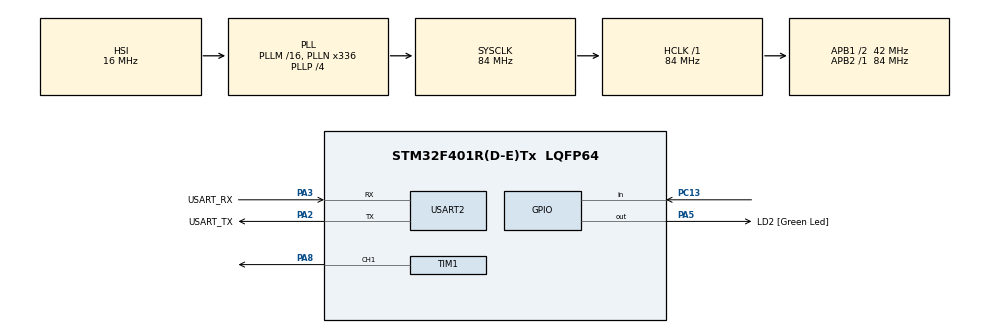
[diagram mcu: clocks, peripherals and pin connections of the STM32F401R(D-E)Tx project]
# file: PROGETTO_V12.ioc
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Mcu.Family=STM32F4
Mcu.Name=STM32F401R(D-E)Tx
Mcu.Package=LQFP64
NVIC.PriorityGroup=NVIC_PRIORITYGROUP_0
PA13.GPIO_Label=TMS
PA13.Mode=Serial_Wire
PA13.Signal=SYS_JTMS-SWDIO
PA14.GPIO_Label=TCK
PA14.Mode=Serial_Wire
PA14.Signal=SYS_JTCK-SWCLK
PA2.GPIO_Label=USART_TX
PA2.GPIO_Mode=GPIO_MODE_AF_PP
PA2.GPIO_PuPd=GPIO_NOPULL
PA2.GPIO_Speed=GPIO_SPEED_FREQ_LOW
PA2.Mode=Asynchronous
PA2.Signal=USART2_TX
PA3.GPIO_Label=USART_RX
PA3.GPIO_Mode=GPIO_MODE_AF_PP
PA3.GPIO_PuPd=GPIO_NOPULL
PA3.GPIO_Speed=GPIO_SPEED_FREQ_LOW
PA3.Mode=Asynchronous
PA3.Signal=USART2_RX
PA5.GPIO_Label=LD2 [Green Led]
PA5.GPIO_Mode=GPIO_MODE_OUTPUT_PP
PA5.GPIO_PuPd=GPIO_NOPULL
PA5.GPIO_Speed=GPIO_SPEED_FREQ_LOW
PA5.Signal=GPIO_Output
PA8.Signal=S_TIM1_CH1
PB3.GPIO_Label=SWO
PB3.Signal=SYS_JTDO-SWO
PC13-ANTI_TAMP.Signal=GPIO_Input
PC14-OSC32_IN.Mode=LSE-External-Oscillator
PC14-OSC32_IN.Signal=RCC_OSC32_IN
PC15-OSC32_OUT.Mode=LSE-External-Oscillator
PC15-OSC32_OUT.Signal=RCC_OSC32_OUT
PH0\ -\ OSC_IN.Mode=HSE-External-Clock-Source
PH0\ -\ OSC_IN.Signal=RCC_OSC_IN
PH1\ -\ OSC_OUT.Mode=HSE-External-Clock-Source
PH1\ -\ OSC_OUT.Signal=RCC_OSC_OUT
ProjectManager.HeapSize=0x200
ProjectManager.StackSize=0x400
ProjectManager.TargetToolchain=STM32CubeIDE
RCC.48MHZClocksFreq_Value=48000000
RCC.AHBFreq_Value=84000000
RCC.APB1CLKDivider=RCC_HCLK_DIV2
RCC.APB1Freq_Value=42000000
RCC.APB1TimFreq_Value=84000000
RCC.APB2Freq_Value=84000000
RCC.APB2TimFreq_Value=84000000
RCC.CortexFreq_Value=84000000
RCC.HCLKFreq_Value=84000000
RCC.HSE_VALUE=8000000
RCC.HSI_VALUE=16000000
RCC.PLLN=336
RCC.PLLP=RCC_PLLP_DIV4
RCC.PLLQ=7
RCC.SYSCLKFreq_VALUE=84000000
RCC.SYSCLKSource=RCC_SYSCLKSOURCE_PLLCLK
RCC.VCOOutputFreq_Value=336000000
SH.S_TIM1_CH1.0=TIM1_CH1,PWM Generation1 CH1
TIM1.Channel-PWM\ Generation1\ CH1=TIM_CHANNEL_1
USART2.VirtualMode=VM_ASYNC
VP_TIM1_VS_ClockSourceINT.Mode=Internal
board=NUCLEO-F401RE

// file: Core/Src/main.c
/* USER CODE BEGIN Header */
/**
  ******************************************************************************
  * @file           : main.c
  * @brief          : Main program body
  ******************************************************************************
  * @attention
  *
  * Copyright (c) 2023 STMicroelectronics.
  * All rights reserved.
  *
  * This software is licensed under terms that can be found in the LICENSE file
  * in the root directory of this software component.
  * If no LICENSE file comes with this software, it is provided AS-IS.
  *
  ******************************************************************************
  */
/* USER CODE END Header */
#include <main.h>
#include <stdlib.h>
#include <string.h>
/* USER CODE END Includes */

TIM_HandleTypeDef htim1;

UART_HandleTypeDef huart2;

void SystemClock_Config(void);
static void MX_GPIO_Init(void);
static void MX_USART2_UART_Init(void);
static void MX_TIM1_Init(void);

/* USER CODE BEGIN 0 */

//DEFINIZIONE DELLE COSTANTI, FREQUENZE DELLE NOTE
#define NOTE_B0  31
#define NOTE_C1  33
#define NOTE_CS1 35
#define NOTE_D1  37
#define NOTE_DS1 39
#define NOTE_E1  41
#define NOTE_F1  44
#define NOTE_FS1 46
#define NOTE_G1  49
#define NOTE_GS1 52
#define NOTE_A1  55
#define NOTE_AS1 58
#define NOTE_B1  62
#define NOTE_C2  65
#define NOTE_CS2 69
#define NOTE_D2  73
#define NOTE_DS2 78
#define NOTE_E2  82
#define NOTE_F2  87
#define NOTE_FS2 93
#define NOTE_G2  98
#define NOTE_GS2 104
#define NOTE_A2  110
#define NOTE_AS2 117
#define NOTE_B2  123
#define NOTE_C3  131
#define NOTE_CS3 139
#define NOTE_D3  147
#define NOTE_DS3 156
#define NOTE_E3  165
#define NOTE_F3  175
#define NOTE_FS3 185
#define NOTE_G3  196
#define NOTE_GS3 208
#define NOTE_A3  220
#define NOTE_AS3 233
#define NOTE_B3  247
#define NOTE_C4  262
#define NOTE_CS4 277
#define NOTE_D4  294
#define NOTE_DS4 311
#define NOTE_E4  330
#define NOTE_F4  349
#define NOTE_FS4 370
#define NOTE_G4  392
#define NOTE_GS4 415
#define NOTE_A4  440
#define NOTE_AS4 466
#define NOTE_B4  494
#define NOTE_C5  523
#define NOTE_CS5 554
#define NOTE_D5  587
#define NOTE_DS5 622
#define NOTE_E5  659
#define NOTE_F5  698
#define NOTE_FS5 740
#define NOTE_G5  784
#define NOTE_GS5 831
#define NOTE_A5  880
#define NOTE_AS5 932
#define NOTE_B5  988
#define NOTE_C6  1047
#define NOTE_CS6 1109
#define NOTE_D6  1175
#define NOTE_DS6 1245
#define NOTE_E6  1319
#define NOTE_F6  1397
#define NOTE_FS6 1480
#define NOTE_G6  1568
#define NOTE_GS6 1661
#define NOTE_A6  1760
#define NOTE_AS6 1865
#define NOTE_B6  1976
#define NOTE_C7  2093
#define NOTE_CS7 2217
#define NOTE_D7  2349
#define NOTE_DS7 2489
#define NOTE_E7  2637
#define NOTE_F7  2794
#define NOTE_FS7 2960
#define NOTE_G7  3136
#define NOTE_GS7 3322
#define NOTE_A7  3520
#define NOTE_AS7 3729
#define NOTE_B7  3951
#define NOTE_C8  4186
#define NOTE_CS8 4435
#define NOTE_D8  4699
#define NOTE_DS8 4978
#define REST 0

//VARIABILI GLOBALI
const int FCK = 84000000; //FREQUENZA DI CLOCK
const float DC_DEFAULT = 0.5; //DUTY CYCLE DI DEFAULT
const int ARR = 32-1; //CONTEGGIO MASSIMO DEL TIMER

//DEFINIZIONE DELLA CANZONE, COMPOSTA DA ARRAY DI NOTE E TEMPI DI RIPRODUZIONE

/*const int TEMPO = 350; //PARAMETRO DA MODIFICARE PER RENDERE PIU O MENO VELOCE LA MUSICA
int melody[] = {

  // Super Mario Bros theme
  // Score available at https://musescore.com/user/2123/scores/2145
  // Theme by Koji Kondo

  NOTE_E5,8, NOTE_E5,8, REST,8, NOTE_E5,8, REST,8, NOTE_C5,8, NOTE_E5,8, //1
  NOTE_G5,4, REST,4, NOTE_G4,8, REST,4,
  NOTE_C5,-4, NOTE_G4,8, REST,4, NOTE_E4,-4, // 3
  NOTE_A4,4, NOTE_B4,4, NOTE_AS4,8, NOTE_A4,4,
  NOTE_G4,-8, NOTE_E5,-8, NOTE_G5,-8, NOTE_A5,4, NOTE_F5,8, NOTE_G5,8,
  REST,8, NOTE_E5,4,NOTE_C5,8, NOTE_D5,8, NOTE_B4,-4,
  NOTE_C5,-4, NOTE_G4,8, REST,4, NOTE_E4,-4, // repeats from 3
  NOTE_A4,4, NOTE_B4,4, NOTE_AS4,8, NOTE_A4,4,
  NOTE_G4,-8, NOTE_E5,-8, NOTE_G5,-8, NOTE_A5,4, NOTE_F5,8, NOTE_G5,8,
  REST,8, NOTE_E5,4,NOTE_C5,8, NOTE_D5,8, NOTE_B4,-4,

  REST,4, NOTE_G5,8, NOTE_FS5,8, NOTE_F5,8, NOTE_DS5,4, NOTE_E5,8,//7
  REST,8, NOTE_GS4,8, NOTE_A4,8, NOTE_C4,8, REST,8, NOTE_A4,8, NOTE_C5,8, NOTE_D5,8,
  REST,4, NOTE_DS5,4, REST,8, NOTE_D5,-4,
  NOTE_C5,2, REST,2,

  REST,4, NOTE_G5,8, NOTE_FS5,8, NOTE_F5,8, NOTE_DS5,4, NOTE_E5,8,//repeats from 7
  REST,8, NOTE_GS4,8, NOTE_A4,8, NOTE_C4,8, REST,8, NOTE_A4,8, NOTE_C5,8, NOTE_D5,8,
  REST,4, NOTE_DS5,4, REST,8, NOTE_D5,-4,
  NOTE_C5,2, REST,2,

  NOTE_C5,8, NOTE_C5,4, NOTE_C5,8, REST,8, NOTE_C5,8, NOTE_D5,4,//11
  NOTE_E5,8, NOTE_C5,4, NOTE_A4,8, NOTE_G4,2,

  NOTE_C5,8, NOTE_C5,4, NOTE_C5,8, REST,8, NOTE_C5,8, NOTE_D5,8, NOTE_E5,8,//13
  REST,1,
  NOTE_C5,8, NOTE_C5,4, NOTE_C5,8, REST,8, NOTE_C5,8, NOTE_D5,4,
  NOTE_E5,8, NOTE_C5,4, NOTE_A4,8, NOTE_G4,2,
  NOTE_E5,8, NOTE_E5,8, REST,8, NOTE_E5,8, REST,8, NOTE_C5,8, NOTE_E5,4,
  NOTE_G5,4, REST,4, NOTE_G4,4, REST,4,
  NOTE_C5,-4, NOTE_G4,8, REST,4, NOTE_E4,-4, // 19

  NOTE_A4,4, NOTE_B4,4, NOTE_AS4,8, NOTE_A4,4,
  NOTE_G4,-8, NOTE_E5,-8, NOTE_G5,-8, NOTE_A5,4, NOTE_F5,8, NOTE_G5,8,
  REST,8, NOTE_E5,4, NOTE_C5,8, NOTE_D5,8, NOTE_B4,-4,

  NOTE_C5,-4, NOTE_G4,8, REST,4, NOTE_E4,-4, // repeats from 19
  NOTE_A4,4, NOTE_B4,4, NOTE_AS4,8, NOTE_A4,4,
  NOTE_G4,-8, NOTE_E5,-8, NOTE_G5,-8, NOTE_A5,4, NOTE_F5,8, NOTE_G5,8,
  REST,8, NOTE_E5,4, NOTE_C5,8, NOTE_D5,8, NOTE_B4,-4,

  NOTE_E5,8, NOTE_C5,4, NOTE_G4,8, REST,4, NOTE_GS4,4,//23
  NOTE_A4,8, NOTE_F5,4, NOTE_F5,8, NOTE_A4,2,
  NOTE_D5,-8, NOTE_A5,-8, NOTE_A5,-8, NOTE_A5,-8, NOTE_G5,-8, NOTE_F5,-8,

  NOTE_E5,8, NOTE_C5,4, NOTE_A4,8, NOTE_G4,2, //26
  NOTE_E5,8, NOTE_C5,4, NOTE_G4,8, REST,4, NOTE_GS4,4,
  NOTE_A4,8, NOTE_F5,4, NOTE_F5,8, NOTE_A4,2,
  NOTE_B4,8, NOTE_F5,4, NOTE_F5,8, NOTE_F5,-8, NOTE_E5,-8, NOTE_D5,-8,
  NOTE_C5,8, NOTE_E4,4, NOTE_E4,8, NOTE_C4,2,

  NOTE_E5,8, NOTE_C5,4, NOTE_G4,8, REST,4, NOTE_GS4,4,//repeats from 23
  NOTE_A4,8, NOTE_F5,4, NOTE_F5,8, NOTE_A4,2,
  NOTE_D5,-8, NOTE_A5,-8, NOTE_A5,-8, NOTE_A5,-8, NOTE_G5,-8, NOTE_F5,-8,

  NOTE_E5,8, NOTE_C5,4, NOTE_A4,8, NOTE_G4,2, //26
  NOTE_E5,8, NOTE_C5,4, NOTE_G4,8, REST,4, NOTE_GS4,4,
  NOTE_A4,8, NOTE_F5,4, NOTE_F5,8, NOTE_A4,2,
  NOTE_B4,8, NOTE_F5,4, NOTE_F5,8, NOTE_F5,-8, NOTE_E5,-8, NOTE_D5,-8,
  NOTE_C5,8, NOTE_E4,4, NOTE_E4,8, NOTE_C4,2,
  NOTE_C5,8, NOTE_C5,4, NOTE_C5,8, REST,8, NOTE_C5,8, NOTE_D5,8, NOTE_E5,8,
  REST,1,

  NOTE_C5,8, NOTE_C5,4, NOTE_C5,8, REST,8, NOTE_C5,8, NOTE_D5,4, //33
  NOTE_E5,8, NOTE_C5,4, NOTE_A4,8, NOTE_G4,2,
  NOTE_E5,8, NOTE_E5,8, REST,8, NOTE_E5,8, REST,8, NOTE_C5,8, NOTE_E5,4,
  NOTE_G5,4, REST,4, NOTE_G4,4, REST,4,
  NOTE_E5,8, NOTE_C5,4, NOTE_G4,8, REST,4, NOTE_GS4,4,
  NOTE_A4,8, NOTE_F5,4, NOTE_F5,8, NOTE_A4,2,
  NOTE_D5,-8, NOTE_A5,-8, NOTE_A5,-8, NOTE_A5,-8, NOTE_G5,-8, NOTE_F5,-8,

  NOTE_E5,8, NOTE_C5,4, NOTE_A4,8, NOTE_G4,2, //40
  NOTE_E5,8, NOTE_C5,4, NOTE_G4,8, REST,4, NOTE_GS4,4,
  NOTE_A4,8, NOTE_F5,4, NOTE_F5,8, NOTE_A4,2,
  NOTE_B4,8, NOTE_F5,4, NOTE_F5,8, NOTE_F5,-8, NOTE_E5,-8, NOTE_D5,-8,
  NOTE_C5,8, NOTE_E4,4, NOTE_E4,8, NOTE_C4,2,

  //game over sound
  NOTE_C5,-4, NOTE_G4,-4, NOTE_E4,4, //45
  NOTE_A4,-8, NOTE_B4,-8, NOTE_A4,-8, NOTE_GS4,-8, NOTE_AS4,-8, NOTE_GS4,-8,
  NOTE_G4,8, NOTE_D4,8, NOTE_E4,-2,

};*/

//DEFINIZIONE CANZONE THE GODFATHER
/*const int TEMPO = 400;
int melody[] = {

  // The Godfather theme
  // Score available at https://musescore.com/user/35463/scores/55160

  REST, 4, REST, 8, REST, 8, REST, 8, NOTE_E4, 8, NOTE_A4, 8, NOTE_C5, 8, //1
  NOTE_B4, 8, NOTE_A4, 8, NOTE_C5, 8, NOTE_A4, 8, NOTE_B4, 8, NOTE_A4, 8, NOTE_F4, 8, NOTE_G4, 8,
  NOTE_E4, 2, NOTE_E4, 8, NOTE_A4, 8, NOTE_C5, 8,
  NOTE_B4, 8, NOTE_A4, 8, NOTE_C5, 8, NOTE_A4, 8, NOTE_C5, 8, NOTE_A4, 8, NOTE_E4, 8, NOTE_DS4, 8,

  NOTE_D4, 2, NOTE_D4, 8, NOTE_F4, 8, NOTE_GS4, 8, //5
  NOTE_B4, 2, NOTE_D4, 8, NOTE_F4, 8, NOTE_GS4, 8,
  NOTE_A4, 2, NOTE_C4, 8, NOTE_C4, 8, NOTE_G4, 8,
  NOTE_F4, 8, NOTE_E4, 8, NOTE_G4, 8, NOTE_F4, 8, NOTE_F4, 8, NOTE_E4, 8, NOTE_E4, 8, NOTE_GS4, 8,

  NOTE_A4, 2, REST,8, NOTE_A4, 8, NOTE_A4, 8, NOTE_GS4, 8, //9
  NOTE_G4, 2, NOTE_B4, 8, NOTE_A4, 8, NOTE_F4, 8,
  NOTE_E4, 2, NOTE_E4, 8, NOTE_G4, 8, NOTE_E4, 8,
  NOTE_D4, 2, NOTE_D4, 8, NOTE_D4, 8, NOTE_F4, 8, NOTE_DS4, 8,

  NOTE_E4, 2, REST, 8, NOTE_E4, 8, NOTE_A4, 8, NOTE_C5, 8, //13

  //repeats from 2
  NOTE_B4, 8, NOTE_A4, 8, NOTE_C5, 8, NOTE_A4, 8, NOTE_B4, 8, NOTE_A4, 8, NOTE_F4, 8, NOTE_G4, 8, //2
  NOTE_E4, 2, NOTE_E4, 8, NOTE_A4, 8, NOTE_C5, 8,
  NOTE_B4, 8, NOTE_A4, 8, NOTE_C5, 8, NOTE_A4, 8, NOTE_C5, 8, NOTE_A4, 8, NOTE_E4, 8, NOTE_DS4, 8,

  NOTE_D4, 2, NOTE_D4, 8, NOTE_F4, 8, NOTE_GS4, 8, //5
  NOTE_B4, 2, NOTE_D4, 8, NOTE_F4, 8, NOTE_GS4, 8,
  NOTE_A4, 2, NOTE_C4, 8, NOTE_C4, 8, NOTE_G4, 8,
  NOTE_F4, 8, NOTE_E4, 8, NOTE_G4, 8, NOTE_F4, 8, NOTE_F4, 8, NOTE_E4, 8, NOTE_E4, 8, NOTE_GS4, 8,

  NOTE_A4, 2, REST,8, NOTE_A4, 8, NOTE_A4, 8, NOTE_GS4, 8, //9
  NOTE_G4, 2, NOTE_B4, 8, NOTE_A4, 8, NOTE_F4, 8,
  NOTE_E4, 2, NOTE_E4, 8, NOTE_G4, 8, NOTE_E4, 8,
  NOTE_D4, 2, NOTE_D4, 8, NOTE_D4, 8, NOTE_F4, 8, NOTE_DS4, 8,

  NOTE_E4, 2 //13
};*/

//STARWARS
/*const int TEMPO = 130;
int melody[] = {

  // Star Trek Intro
  // Score available at https://musescore.com/user/10768291/scores/4594271

  NOTE_D4, -8, NOTE_G4, 16, NOTE_C5, -4,
  NOTE_B4, 8, NOTE_G4, -16, NOTE_E4, -16, NOTE_A4, -16,
  NOTE_D5, 2,

};
*/

//NEVERGONNAGIVEUUP
const int TEMPO = 250;
int melody[] = {

  // Never Gonna Give You Up - Rick Astley
  // Score available at https://musescore.com/chlorondria_5/never-gonna-give-you-up_alto-sax
  // Arranged by Chlorondria

  NOTE_D5,-4, NOTE_E5,-4, NOTE_A4,4, //1
  NOTE_E5,-4, NOTE_FS5,-4, NOTE_A5,16, NOTE_G5,16, NOTE_FS5,8,
  NOTE_D5,-4, NOTE_E5,-4, NOTE_A4,2,
  NOTE_A4,16, NOTE_A4,16, NOTE_B4,16, NOTE_D5,8, NOTE_D5,16,
  NOTE_D5,-4, NOTE_E5,-4, NOTE_A4,4, //repeat from 1
  NOTE_E5,-4, NOTE_FS5,-4, NOTE_A5,16, NOTE_G5,16, NOTE_FS5,8,
  NOTE_D5,-4, NOTE_E5,-4, NOTE_A4,2,
  NOTE_A4,16, NOTE_A4,16, NOTE_B4,16, NOTE_D5,8, NOTE_D5,16,
  REST,4, NOTE_B4,8, NOTE_CS5,8, NOTE_D5,8, NOTE_D5,8, NOTE_E5,8, NOTE_CS5,-8,
  NOTE_B4,16, NOTE_A4,2, REST,4,

  REST,8, NOTE_B4,8, NOTE_B4,8, NOTE_CS5,8, NOTE_D5,8, NOTE_B4,4, NOTE_A4,8, //7
  NOTE_A5,8, REST,8, NOTE_A5,8, NOTE_E5,-4, REST,4,
  NOTE_B4,8, NOTE_B4,8, NOTE_CS5,8, NOTE_D5,8, NOTE_B4,8, NOTE_D5,8, NOTE_E5,8, REST,8,
  REST,8, NOTE_CS5,8, NOTE_B4,8, NOTE_A4,-4, REST,4,
  REST,8, NOTE_B4,8, NOTE_B4,8, NOTE_CS5,8, NOTE_D5,8, NOTE_B4,8, NOTE_A4,4,
  NOTE_E5,8, NOTE_E5,8, NOTE_E5,8, NOTE_FS5,8, NOTE_E5,4, REST,4,

  NOTE_D5,2, NOTE_E5,8, NOTE_FS5,8, NOTE_D5,8, //13
  NOTE_E5,8, NOTE_E5,8, NOTE_E5,8, NOTE_FS5,8, NOTE_E5,4, NOTE_A4,4,
  REST,2, NOTE_B4,8, NOTE_CS5,8, NOTE_D5,8, NOTE_B4,8,
  REST,8, NOTE_E5,8, NOTE_FS5,8, NOTE_E5,-4, NOTE_A4,16, NOTE_B4,16, NOTE_D5,16, NOTE_B4,16,
  NOTE_FS5,-8, NOTE_FS5,-8, NOTE_E5,-4, NOTE_A4,16, NOTE_B4,16, NOTE_D5,16, NOTE_B4,16,

  NOTE_E5,-8, NOTE_E5,-8, NOTE_D5,-8, NOTE_CS5,16, NOTE_B4,-8, NOTE_A4,16, NOTE_B4,16, NOTE_D5,16, NOTE_B4,16, //18
  NOTE_D5,4, NOTE_E5,8, NOTE_CS5,-8, NOTE_B4,16, NOTE_A4,8, NOTE_A4,8, NOTE_A4,8,
  NOTE_E5,4, NOTE_D5,2, NOTE_A4,16, NOTE_B4,16, NOTE_D5,16, NOTE_B4,16,
  NOTE_FS5,-8, NOTE_FS5,-8, NOTE_E5,-4, NOTE_A4,16, NOTE_B4,16, NOTE_D5,16, NOTE_B4,16,
  NOTE_A5,4, NOTE_CS5,8, NOTE_D5,-8, NOTE_CS5,16, NOTE_B4,8, NOTE_A4,16, NOTE_B4,16, NOTE_D5,16, NOTE_B4,16,

  NOTE_D5,4, NOTE_E5,8, NOTE_CS5,-8, NOTE_B4,16, NOTE_A4,4, NOTE_A4,8,  //23
  NOTE_E5,4, NOTE_D5,2, REST,4,
  REST,8, NOTE_B4,8, NOTE_D5,8, NOTE_B4,8, NOTE_D5,8, NOTE_E5,4, REST,8,
  REST,8, NOTE_CS5,8, NOTE_B4,8, NOTE_A4,-4, REST,4,
  REST,8, NOTE_B4,8, NOTE_B4,8, NOTE_CS5,8, NOTE_D5,8, NOTE_B4,8, NOTE_A4,4,
  REST,8, NOTE_A5,8, NOTE_A5,8, NOTE_E5,8, NOTE_FS5,8, NOTE_E5,8, NOTE_D5,8,

  REST,8, NOTE_A4,8, NOTE_B4,8, NOTE_CS5,8, NOTE_D5,8, NOTE_B4,8, //29
  REST,8, NOTE_CS5,8, NOTE_B4,8, NOTE_A4,-4, REST,4,
  NOTE_B4,8, NOTE_B4,8, NOTE_CS5,8, NOTE_D5,8, NOTE_B4,8, NOTE_A4,4, REST,8,
  REST,8, NOTE_E5,8, NOTE_E5,8, NOTE_FS5,4, NOTE_E5,-4,
  NOTE_D5,2, NOTE_D5,8, NOTE_E5,8, NOTE_FS5,8, NOTE_E5,4,
  NOTE_E5,8, NOTE_E5,8, NOTE_FS5,8, NOTE_E5,8, NOTE_A4,8, NOTE_A4,4,

  REST,-4, NOTE_A4,8, NOTE_B4,8, NOTE_CS5,8, NOTE_D5,8, NOTE_B4,8, //35
  REST,8, NOTE_E5,8, NOTE_FS5,8, NOTE_E5,-4, NOTE_A4,16, NOTE_B4,16, NOTE_D5,16, NOTE_B4,16,
  NOTE_FS5,-8, NOTE_FS5,-8, NOTE_E5,-4, NOTE_A4,16, NOTE_B4,16, NOTE_D5,16, NOTE_B4,16,
  NOTE_E5,-8, NOTE_E5,-8, NOTE_D5,-8, NOTE_CS5,16, NOTE_B4,8, NOTE_A4,16, NOTE_B4,16, NOTE_D5,16, NOTE_B4,16,
  NOTE_D5,4, NOTE_E5,8, NOTE_CS5,-8, NOTE_B4,16, NOTE_A4,4, NOTE_A4,8,

   NOTE_E5,4, NOTE_D5,2, NOTE_A4,16, NOTE_B4,16, NOTE_D5,16, NOTE_B4,16, //40
  NOTE_FS5,-8, NOTE_FS5,-8, NOTE_E5,-4, NOTE_A4,16, NOTE_B4,16, NOTE_D5,16, NOTE_B4,16,
  NOTE_A5,4, NOTE_CS5,8, NOTE_D5,-8, NOTE_CS5,16, NOTE_B4,8, NOTE_A4,16, NOTE_B4,16, NOTE_D5,16, NOTE_B4,16,
  NOTE_D5,4, NOTE_E5,8, NOTE_CS5,-8, NOTE_B4,16, NOTE_A4,4, NOTE_A4,8,
  NOTE_E5,4, NOTE_D5,2, NOTE_A4,16, NOTE_B4,16, NOTE_D5,16, NOTE_B4,16,

  NOTE_FS5,-8, NOTE_FS5,-8, NOTE_E5,-4, NOTE_A4,16, NOTE_B4,16, NOTE_D5,16, NOTE_B4,16, //45
  NOTE_A5,4, NOTE_CS5,8, NOTE_D5,-8, NOTE_CS5,16, NOTE_B4,8, NOTE_A4,16, NOTE_B4,16, NOTE_D5,16, NOTE_B4,16,
  NOTE_D5,4, NOTE_E5,8, NOTE_CS5,-8, NOTE_B4,16, NOTE_A4,4, NOTE_A4,8,
  NOTE_E5,4, NOTE_D5,2, NOTE_A4,16, NOTE_B4,16, NOTE_D5,16, NOTE_B4,16,
  NOTE_FS5,-8, NOTE_FS5,-8, NOTE_E5,-4, NOTE_A4,16, NOTE_B4,16, NOTE_D5,16, NOTE_B4,16, //45

  NOTE_A5,4, NOTE_CS5,8, NOTE_D5,-8, NOTE_CS5,16, NOTE_B4,8, NOTE_A4,16, NOTE_B4,16, NOTE_D5,16, NOTE_B4,16,
  NOTE_D5,4, NOTE_E5,8, NOTE_CS5,-8, NOTE_B4,16, NOTE_A4,4, NOTE_A4,8,

  NOTE_E5,4, NOTE_D5,2, REST,4
};

int WHOLE_NOTE = (60000*4)/TEMPO; //DURATA DI UNA NOTA IN ms
int noteSize = sizeof(melody)/sizeof(melody[0])-1; //LUNGHEZZA DELLA CANZONE

/**
 * @brief Calcola la durata della nota in secondi
 * @param divider: divisore del tempo di una wholenote
 * @param wholenote: durata di una singola nota
 * @return durata della nota in secondi
 */
float calcolaNoteDuration(int divider, int wholenote)
{
	float noteDuration = 0;
	if(divider > 0)
	{
		noteDuration = (wholenote) / divider;
	}
	else
	{
		noteDuration = (wholenote) / abs(divider);
		noteDuration *= 1.5;
	}

	return noteDuration/1000;
}

/**
 * @brief Calcola il prescaler da assegnare al timer per ottenere la frequenza desiderata
 * @param frequenzaNota: frequenza della nota da generare
 * @return prescaler calcolato
 */
int calcolaPrescaler(int frequenzaNota)
{
	if(frequenzaNota == 0)
	{
		return -1;
	}
	return (FCK/(frequenzaNota*(ARR+1)) - 1);
}

/**
 * @brief Calcola il conteggio a cui deve arrivare il counter per avere la durata specificata di ogni nota
 * @param frequenzaNota: frequenza della nota da generare
 * @param psc: prescaler del timer
 * @param noteDuration: durata voluta della nota
 * @return conteggio massimo per avere durata desiderata
 */
float calcolaConteggio(int frequenzaNota, int psc, float noteDuration)
{
	float PRESCALED_FREQ = FCK/psc;
	float PRESCALED_PERIOD = 1.0/PRESCALED_FREQ;
	float cycle_time_duration = PRESCALED_PERIOD * (ARR+1);
	return noteDuration/cycle_time_duration;
}

/**
 * @brief Set del duty cycle del PWM
 * @param perc: percentuale a cui settare il duty cycle
 */
void setDutyCycle(float perc)
{
	float dutyCycle = ARR*perc;
	TIM1->CCR1 = (int) dutyCycle;
}

/**
 * @brief Calcola la frequenza generata, funzione utilizzata in fase di DEBUG
 * @param psc: prescaler selezionato
 */
int calcolaFreqGen(int psc)
{
	return FCK/((ARR-1)*(psc-1));
}

/**
 * @brief Funzione di supporto per disattivare la generazione PWM
 * @param *htim1: timer su cui eseguire l'operazione
 */
void disattivaPWM(TIM_HandleTypeDef *htim1) {
	TIM1->CR1 = TIM1->CR1 & 0x00; //disattivo il timer
	HAL_TIM_PWM_Stop(&*htim1, TIM_CHANNEL_1); //disattivo il pwm
	setDutyCycle(0);
}

/**
 * @brief Funzione di supporto per attivare la generazione del PWM
 * @param *htim1: timer su cui eseguire l'operazione
 */
void attivaPWM(TIM_HandleTypeDef *htim1, const float DC_DEFAULT) {
	TIM1->CR1 = TIM1->CR1 | 0x01; //start timer
	HAL_TIM_PWM_Start(&*htim1, TIM_CHANNEL_1); //attivo il pwm
	setDutyCycle(DC_DEFAULT);
}

/* USER CODE END 0 */

int main(void)
{

  /* MCU Configuration--------------------------------------------------------*/

  /* Reset of all peripherals, Initializes the Flash interface and the Systick. */
  HAL_Init();

  /* Configure the system clock */
  SystemClock_Config();

  /* Initialize all configured peripherals */
  MX_GPIO_Init();
  MX_USART2_UART_Init();
  MX_TIM1_Init();
  /* USER CODE BEGIN 2 */

  int btVal = 0; //LETTURA DEL PULSANTE
  int stato = 0; //STATO DELLA MACCHINA A STATI

  //VARIABILI PER LA RIPRODUZIONE DI UNA NOTA
  int idNota = 0; //NUMERO DELLA NOTA A CUI SI E ARRIVATI NELLA CANZONE
  int nota = 0; //FREQUENZA DELLA NOTA DA RIPRODURRE
  int divider = 0; //DIVISORE DI WHOLETIME PER CUI RIPRODURRE LA NOTA
  int psc = 0; //PRESCALER DEL TIMER
  float noteDuration = 0; //DURATA IN SECONDI DELLA NOTA
  int maxCount = 0; //CONTEGGIO A CUI DEVO ARRIVARE PER RAGGIUNGERE LA NOTEDURATION
  int countCicli = 0; //CONTEGGIO DEI CICLI COMPIUTI DAL TIMER

  //VARIABILI UART
  int bufSize = 7; //BUFSIZE 10000\r\n => 7 caratteri massimo (max frequency 10kHz)
  uint8_t rx_buf[bufSize]; //BUFFER DI RICEZIONE
  int i = 0; //INDICE DEL CICLO FOR
  int fLetta = -1; //FREQUENZA RICEVUTA DALLA SERIALE

  //SETUP INIZIALE DEL REGISTRO ARR DEL TIMER
  TIM1->ARR = ARR;

  /* USER CODE END 2 */

  /* Infinite loop */
  /* USER CODE BEGIN WHILE */
  while (1)
  {
	  switch (stato) {
		case 0:
			disattivaPWM(&htim1);
			stato = 1;
			break;
		case 1:
			//LETTURA PULSANTE PER INIZIARE UNA CANZONE
			btVal = !HAL_GPIO_ReadPin(GPIOC, GPIO_PIN_13);
			if(btVal == 1)
			{
				stato = 2;
				break;
			}

			//LETTURA SERIALE PER EVENTUALE DATI IN INGRESSO
			HAL_UART_Receive(&huart2, rx_buf, 34, 200);// UART RX
			for (i = 0; i < (bufSize-2); i++)
			{
				if((rx_buf[i+1] == '\r') && rx_buf[i+2] == '\n')
				{
					fLetta = atoi(rx_buf);
					memset(rx_buf,0, bufSize); //CLEAR DEL BUFFER DI RICEZIONE DOPO LA LETTURA
					stato = 6;
					break;
				}
			}
			break;
		case 2:
			attivaPWM(&htim1, DC_DEFAULT);
			stato = 3;
			break;
		case 3:
			//SELEZIONE DELLA NOTA DA SUONARE
			if(idNota > noteSize)
			{
				idNota = 0;
				stato = 0;
				break;
			}

			nota = melody[idNota]; //SELEZIONO LA NOTA DALLA MELODIA
			divider = melody[idNota+1]; //SELEZIONO IL CORRISPONDENTE DIVIDER

			psc = calcolaPrescaler(nota); // CALCOLO IL PRESCLAER DA ASSEGNARE AL TIMER
			noteDuration = calcolaNoteDuration(divider, WHOLE_NOTE); //CALCOLO LA DURATA DELLA NOTA
			if(psc == -1) //SE IL PSC = -1 SIGNIFICA CHE NON DEVO RIPRODURRE NULLA
			{
				psc = 1; //SETTO PSC A 1 IN MODO DA POTER CALCOLARE COMUNQUE IL TEMPO DELLA PAUSA
				setDutyCycle(0); //SETTO IL DUTY CYCLE A 0
			}
			else
			{
				setDutyCycle(DC_DEFAULT); //SETTO IL DUTY CYCLE A QUELLO DI DEFAULT
			}

			//CALCOLA IL CONTEGGIO A CUI DEVE ARRIVARE PER OTTENERE LA DURATA DESIDERATA
			//PER OTTENERE UNA PAUSA AGGIUNTIVA TRA UNA NOTA E L'ALTRA FACCIO IL PLAY DELLA NOTA
			//PER 90% DEL TEMPO DI NOTEDURATION, QUESTO E FATTO PER AVERE MAGGIORE MUSICALITA
			maxCount = (int) calcolaConteggio(nota, psc, noteDuration*0.9);
			TIM1->PSC = psc; //SET DEL PRESCALER DEL TIMER
			stato = 4;
			break;
		case 4:
			//PLAY DELLA NOTA
			if(((TIM1->SR) & 0x01) == 0x01)
			{
				countCicli++;
				if(countCicli == maxCount)
				{
					countCicli = 0;
					TIM1->SR = TIM1->SR & ~0x01; //RESET TIMER DOPO IL CONTEGGIO MASSIMO
					setDutyCycle(0); //SET DUTY CYCLE A ZERO PER LA PAUSA
					stato = 5;
					break;
				}
				TIM1->SR = TIM1->SR & ~0x01; //RESET TIMER DOPO IL CONTEGGIO MASSIMO
			}
			break;
		case 5:
			if(((TIM1->SR) & 0x01) == 0x01)
			{
				countCicli++;
				if(countCicli == maxCount)
				{
					countCicli = 0;
					TIM1->SR = TIM1->SR & ~0x01; //RESET TIMER DOPO IL CONTEGGIO MASSIMO
					idNota += 2; //INCREMENTO DI DUE L'idNota, IN MODO DA OTTENERE LA SEGUENTE
					stato = 3;
					break;
				}
				TIM1->SR = TIM1->SR & ~0x01; //RESET TIMER DOPO IL CONTEGGIO MASSIMO
			}
			break;
		case 6:
			attivaPWM(&htim1, DC_DEFAULT);
			stato = 7;
			break;
		case 7:
			//PLAY DI UNA SINGOLA NOTA PER UN TEMPO STABILITO DI 3 SECONDI
			nota = fLetta;
			noteDuration = 3; //SETTO LA DURATA DELLA NOTA A 3 SECONDI
			psc = calcolaPrescaler(nota); //CALCOLO IL PRESCALER DA ASSEGNARE AL TIMER
			if(psc == -1)
			{
				psc = 1; //SETTO PSC A 1 IN MODO DA POTER CALCOLARE COMUNQUE IL TEMPO DELLA PAUSA
				setDutyCycle(0); //SETTO IL DUTY CYCLE A ZERO
			}
			else
			{
				setDutyCycle(DC_DEFAULT); //SETTO IL DUTY CYCLE A QUELLO DI DEFAULT
			}
			maxCount = (int) calcolaConteggio(nota, psc, noteDuration);
			TIM1->PSC = psc; //SETTO IL PRESCALER DEL TIMER
			countCicli = 0;
			stato = 8;
			break;
		case 8:
			if(((TIM1->SR) & 0x01) == 0x01)
			{
				countCicli++;
				if(countCicli == maxCount)
				{
					countCicli = 0;
					TIM1->SR = TIM1->SR & ~0x01; //RESET TIMER DOPO IL CONTEGGIO MASSIMO
					setDutyCycle(0); //SETTO DUTY CYCLE A ZERO
					stato = 0;
					break;
				}
				TIM1->SR = TIM1->SR & ~0x01; //RESET TIMER DOPO IL CONTEGGIO MASSIMO
			}
		default:
			break;
	}
    /* USER CODE END WHILE */

  }
}

void SystemClock_Config(void)
{
  RCC_OscInitTypeDef RCC_OscInitStruct = {0};
  RCC_ClkInitTypeDef RCC_ClkInitStruct = {0};

  /** Configure the main internal regulator output voltage
  */
  __HAL_RCC_PWR_CLK_ENABLE();
  __HAL_PWR_VOLTAGESCALING_CONFIG(PWR_REGULATOR_VOLTAGE_SCALE2);

  /** Initializes the RCC Oscillators according to the specified parameters
  * in the RCC_OscInitTypeDef structure.
  */
  RCC_OscInitStruct.OscillatorType = RCC_OSCILLATORTYPE_HSI;
  RCC_OscInitStruct.HSIState = RCC_HSI_ON;
  RCC_OscInitStruct.HSICalibrationValue = RCC_HSICALIBRATION_DEFAULT;
  RCC_OscInitStruct.PLL.PLLState = RCC_PLL_ON;
  RCC_OscInitStruct.PLL.PLLSource = RCC_PLLSOURCE_HSI;
  RCC_OscInitStruct.PLL.PLLM = 16;
  RCC_OscInitStruct.PLL.PLLN = 336;
  RCC_OscInitStruct.PLL.PLLP = RCC_PLLP_DIV4;
  RCC_OscInitStruct.PLL.PLLQ = 7;
  if (HAL_RCC_OscConfig(&RCC_OscInitStruct) != HAL_OK)
  {
    Error_Handler();
  }

  /** Initializes the CPU, AHB and APB buses clocks
  */
  RCC_ClkInitStruct.ClockType = RCC_CLOCKTYPE_HCLK|RCC_CLOCKTYPE_SYSCLK
                              |RCC_CLOCKTYPE_PCLK1|RCC_CLOCKTYPE_PCLK2;
  RCC_ClkInitStruct.SYSCLKSource = RCC_SYSCLKSOURCE_PLLCLK;
  RCC_ClkInitStruct.AHBCLKDivider = RCC_SYSCLK_DIV1;
  RCC_ClkInitStruct.APB1CLKDivider = RCC_HCLK_DIV2;
  RCC_ClkInitStruct.APB2CLKDivider = RCC_HCLK_DIV1;

  if (HAL_RCC_ClockConfig(&RCC_ClkInitStruct, FLASH_LATENCY_2) != HAL_OK)
  {
    Error_Handler();
  }
}

static void MX_TIM1_Init(void)
{

  TIM_ClockConfigTypeDef sClockSourceConfig = {0};
  TIM_MasterConfigTypeDef sMasterConfig = {0};
  TIM_OC_InitTypeDef sConfigOC = {0};
  TIM_BreakDeadTimeConfigTypeDef sBreakDeadTimeConfig = {0};

  htim1.Instance = TIM1;
  htim1.Init.Prescaler = 0;
  htim1.Init.CounterMode = TIM_COUNTERMODE_UP;
  htim1.Init.Period = 65535;
  htim1.Init.ClockDivision = TIM_CLOCKDIVISION_DIV1;
  htim1.Init.RepetitionCounter = 0;
  htim1.Init.AutoReloadPreload = TIM_AUTORELOAD_PRELOAD_DISABLE;
  if (HAL_TIM_Base_Init(&htim1) != HAL_OK)
  {
    Error_Handler();
  }
  sClockSourceConfig.ClockSource = TIM_CLOCKSOURCE_INTERNAL;
  if (HAL_TIM_ConfigClockSource(&htim1, &sClockSourceConfig) != HAL_OK)
  {
    Error_Handler();
  }
  if (HAL_TIM_PWM_Init(&htim1) != HAL_OK)
  {
    Error_Handler();
  }
  sMasterConfig.MasterOutputTrigger = TIM_TRGO_RESET;
  sMasterConfig.MasterSlaveMode = TIM_MASTERSLAVEMODE_DISABLE;
  if (HAL_TIMEx_MasterConfigSynchronization(&htim1, &sMasterConfig) != HAL_OK)
  {
    Error_Handler();
  }
  sConfigOC.OCMode = TIM_OCMODE_PWM1;
  sConfigOC.Pulse = 0;
  sConfigOC.OCPolarity = TIM_OCPOLARITY_HIGH;
  sConfigOC.OCNPolarity = TIM_OCNPOLARITY_HIGH;
  sConfigOC.OCFastMode = TIM_OCFAST_DISABLE;
  sConfigOC.OCIdleState = TIM_OCIDLESTATE_RESET;
  sConfigOC.OCNIdleState = TIM_OCNIDLESTATE_RESET;
  if (HAL_TIM_PWM_ConfigChannel(&htim1, &sConfigOC, TIM_CHANNEL_1) != HAL_OK)
  {
    Error_Handler();
  }
  sBreakDeadTimeConfig.OffStateRunMode = TIM_OSSR_DISABLE;
  sBreakDeadTimeConfig.OffStateIDLEMode = TIM_OSSI_DISABLE;
  sBreakDeadTimeConfig.LockLevel = TIM_LOCKLEVEL_OFF;
  sBreakDeadTimeConfig.DeadTime = 0;
  sBreakDeadTimeConfig.BreakState = TIM_BREAK_DISABLE;
  sBreakDeadTimeConfig.BreakPolarity = TIM_BREAKPOLARITY_HIGH;
  sBreakDeadTimeConfig.AutomaticOutput = TIM_AUTOMATICOUTPUT_DISABLE;
  if (HAL_TIMEx_ConfigBreakDeadTime(&htim1, &sBreakDeadTimeConfig) != HAL_OK)
  {
    Error_Handler();
  }
  HAL_TIM_MspPostInit(&htim1);

}

static void MX_USART2_UART_Init(void)
{

  huart2.Instance = USART2;
  huart2.Init.BaudRate = 115200;
  huart2.Init.WordLength = UART_WORDLENGTH_8B;
  huart2.Init.StopBits = UART_STOPBITS_1;
  huart2.Init.Parity = UART_PARITY_NONE;
  huart2.Init.Mode = UART_MODE_TX_RX;
  huart2.Init.HwFlowCtl = UART_HWCONTROL_NONE;
  huart2.Init.OverSampling = UART_OVERSAMPLING_16;
  if (HAL_UART_Init(&huart2) != HAL_OK)
  {
    Error_Handler();
  }

}

static void MX_GPIO_Init(void)
{
  GPIO_InitTypeDef GPIO_InitStruct = {0};

  /* GPIO Ports Clock Enable */
  __HAL_RCC_GPIOC_CLK_ENABLE();
  __HAL_RCC_GPIOH_CLK_ENABLE();
  __HAL_RCC_GPIOA_CLK_ENABLE();
  __HAL_RCC_GPIOB_CLK_ENABLE();

  /*Configure GPIO pin Output Level */
  HAL_GPIO_WritePin(LD2_GPIO_Port, LD2_Pin, GPIO_PIN_RESET);

  /*Configure GPIO pin : PC13 */
  GPIO_InitStruct.Pin = GPIO_PIN_13;
  GPIO_InitStruct.Mode = GPIO_MODE_INPUT;
  GPIO_InitStruct.Pull = GPIO_NOPULL;
  HAL_GPIO_Init(GPIOC, &GPIO_InitStruct);

  /*Configure GPIO pin : LD2_Pin */
  GPIO_InitStruct.Pin = LD2_Pin;
  GPIO_InitStruct.Mode = GPIO_MODE_OUTPUT_PP;
  GPIO_InitStruct.Pull = GPIO_NOPULL;
  GPIO_InitStruct.Speed = GPIO_SPEED_FREQ_LOW;
  HAL_GPIO_Init(LD2_GPIO_Port, &GPIO_InitStruct);

}

void Error_Handler(void)
{
  __disable_irq();
  while (1)
  {
  }
}
